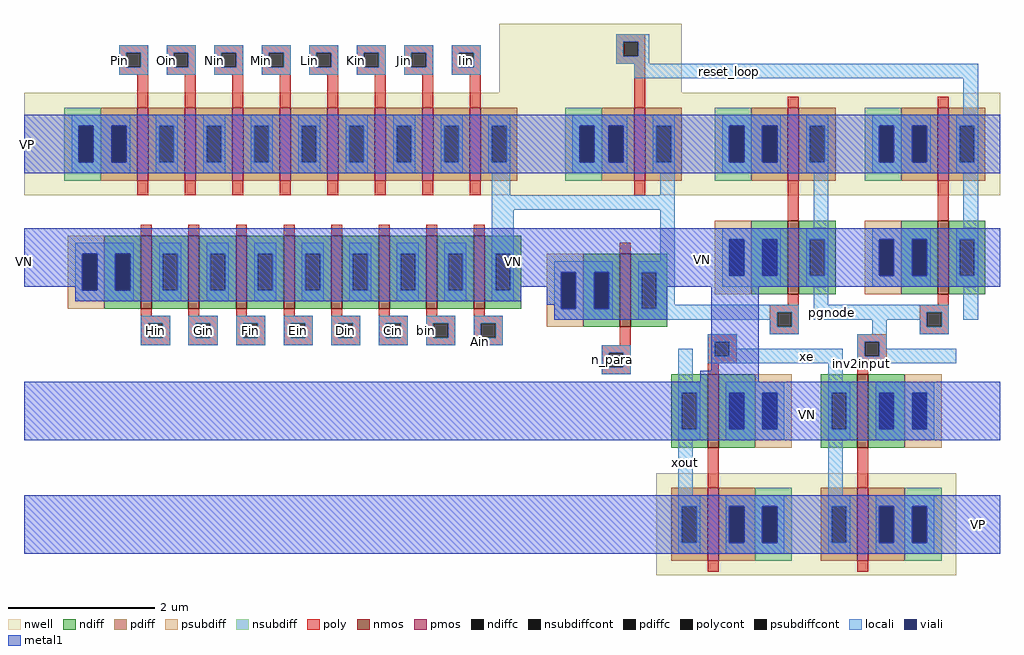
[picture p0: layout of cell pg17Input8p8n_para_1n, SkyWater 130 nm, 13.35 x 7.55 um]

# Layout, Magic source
magic
tech sky130A
<< nwell >>
rect -280 325 -30 420
rect -930 185 -5 325
<< nmos >>
rect -770 30 -755 130
rect -705 30 -690 130
rect -640 30 -625 130
rect -575 30 -560 130
rect -510 30 -495 130
rect -445 30 -430 130
rect -380 30 -365 130
rect -315 30 -300 130
rect -115 5 -100 105
<< pmos >>
rect -775 205 -760 305
rect -710 205 -695 305
rect -645 205 -630 305
rect -580 205 -565 305
rect -515 205 -500 305
rect -450 205 -435 305
rect -385 205 -370 305
rect -320 205 -305 305
rect -95 205 -80 305
<< ndiff >>
rect -820 105 -770 130
rect -820 55 -805 105
rect -785 55 -770 105
rect -820 30 -770 55
rect -755 105 -705 130
rect -755 55 -740 105
rect -720 55 -705 105
rect -755 30 -705 55
rect -690 105 -640 130
rect -690 55 -675 105
rect -655 55 -640 105
rect -690 30 -640 55
rect -625 105 -575 130
rect -625 55 -610 105
rect -590 55 -575 105
rect -625 30 -575 55
rect -560 105 -510 130
rect -560 55 -545 105
rect -525 55 -510 105
rect -560 30 -510 55
rect -495 105 -445 130
rect -495 55 -480 105
rect -460 55 -445 105
rect -495 30 -445 55
rect -430 105 -380 130
rect -430 55 -415 105
rect -395 55 -380 105
rect -430 30 -380 55
rect -365 105 -315 130
rect -365 55 -350 105
rect -330 55 -315 105
rect -365 30 -315 55
rect -300 105 -250 130
rect -300 55 -285 105
rect -265 55 -250 105
rect -300 30 -250 55
rect -165 80 -115 105
rect -165 30 -150 80
rect -130 30 -115 80
rect -165 5 -115 30
rect -100 80 -50 105
rect -100 30 -85 80
rect -65 30 -50 80
rect -100 5 -50 30
<< pdiff >>
rect -825 280 -775 305
rect -825 230 -810 280
rect -790 230 -775 280
rect -825 205 -775 230
rect -760 280 -710 305
rect -760 230 -745 280
rect -725 230 -710 280
rect -760 205 -710 230
rect -695 280 -645 305
rect -695 230 -680 280
rect -660 230 -645 280
rect -695 205 -645 230
rect -630 280 -580 305
rect -630 230 -615 280
rect -595 230 -580 280
rect -630 205 -580 230
rect -565 280 -515 305
rect -565 230 -550 280
rect -530 230 -515 280
rect -565 205 -515 230
rect -500 280 -450 305
rect -500 230 -485 280
rect -465 230 -450 280
rect -500 205 -450 230
rect -435 280 -385 305
rect -435 230 -420 280
rect -400 230 -385 280
rect -435 205 -385 230
rect -370 280 -320 305
rect -370 230 -355 280
rect -335 230 -320 280
rect -370 205 -320 230
rect -305 280 -255 305
rect -305 230 -290 280
rect -270 230 -255 280
rect -305 205 -255 230
rect -140 280 -95 305
rect -140 230 -130 280
rect -110 230 -95 280
rect -140 205 -95 230
rect -80 280 -30 305
rect -80 230 -65 280
rect -45 230 -30 280
rect -80 205 -30 230
<< ndiffc >>
rect -805 55 -785 105
rect -740 55 -720 105
rect -675 55 -655 105
rect -610 55 -590 105
rect -545 55 -525 105
rect -480 55 -460 105
rect -415 55 -395 105
rect -350 55 -330 105
rect -285 55 -265 105
rect -150 30 -130 80
rect -85 30 -65 80
<< pdiffc >>
rect -810 230 -790 280
rect -745 230 -725 280
rect -680 230 -660 280
rect -615 230 -595 280
rect -550 230 -530 280
rect -485 230 -465 280
rect -420 230 -400 280
rect -355 230 -335 280
rect -290 230 -270 280
rect -130 230 -110 280
rect -65 230 -45 280
<< psubdiff >>
rect -870 105 -820 130
rect -870 55 -850 105
rect -830 55 -820 105
rect -870 30 -820 55
rect -215 80 -165 105
rect -215 30 -195 80
rect -175 30 -165 80
rect -215 5 -165 30
<< nsubdiff >>
rect -875 280 -825 305
rect -875 230 -855 280
rect -835 230 -825 280
rect -875 205 -825 230
rect -190 280 -140 305
rect -190 230 -170 280
rect -150 230 -140 280
rect -190 205 -140 230
<< psubdiffcont >>
rect -850 55 -830 105
rect -195 30 -175 80
<< nsubdiffcont >>
rect -855 230 -835 280
rect -170 230 -150 280
<< poly >>
rect -120 395 -80 405
rect -800 380 -760 390
rect -800 360 -790 380
rect -770 360 -760 380
rect -800 350 -760 360
rect -735 380 -695 390
rect -735 360 -725 380
rect -705 360 -695 380
rect -735 350 -695 360
rect -670 380 -630 390
rect -670 360 -660 380
rect -640 360 -630 380
rect -670 350 -630 360
rect -605 380 -565 390
rect -605 360 -595 380
rect -575 360 -565 380
rect -605 350 -565 360
rect -540 380 -500 390
rect -540 360 -530 380
rect -510 360 -500 380
rect -540 350 -500 360
rect -475 380 -435 390
rect -475 360 -465 380
rect -445 360 -435 380
rect -475 350 -435 360
rect -410 380 -370 390
rect -410 360 -400 380
rect -380 360 -370 380
rect -410 350 -370 360
rect -345 380 -305 390
rect -345 360 -335 380
rect -315 360 -305 380
rect -120 375 -110 395
rect -90 375 -80 395
rect -120 365 -80 375
rect -345 350 -305 360
rect -775 305 -760 350
rect -710 305 -695 350
rect -645 305 -630 350
rect -580 305 -565 350
rect -515 305 -500 350
rect -450 305 -435 350
rect -385 305 -370 350
rect -320 305 -305 350
rect -95 305 -80 365
rect -775 185 -760 205
rect -710 185 -695 205
rect -645 185 -630 205
rect -580 185 -565 205
rect -515 185 -500 205
rect -450 185 -435 205
rect -385 185 -370 205
rect -320 185 -305 205
rect -95 185 -80 205
rect -770 130 -755 145
rect -705 130 -690 145
rect -640 130 -625 145
rect -575 130 -560 145
rect -510 130 -495 145
rect -445 130 -430 145
rect -380 130 -365 145
rect -315 130 -300 145
rect -115 105 -100 120
rect -770 20 -755 30
rect -705 20 -690 30
rect -640 20 -625 30
rect -575 20 -560 30
rect -510 20 -495 30
rect -445 20 -430 30
rect -380 20 -365 30
rect -315 20 -300 30
rect -770 10 -730 20
rect -770 -10 -760 10
rect -740 -10 -730 10
rect -770 -20 -730 -10
rect -705 10 -665 20
rect -705 -10 -695 10
rect -675 -10 -665 10
rect -705 -20 -665 -10
rect -640 10 -600 20
rect -640 -10 -630 10
rect -610 -10 -600 10
rect -640 -20 -600 -10
rect -575 10 -535 20
rect -575 -10 -565 10
rect -545 -10 -535 10
rect -575 -20 -535 -10
rect -510 10 -470 20
rect -510 -10 -500 10
rect -480 -10 -470 10
rect -510 -20 -470 -10
rect -445 10 -405 20
rect -445 -10 -435 10
rect -415 -10 -405 10
rect -445 -20 -405 -10
rect -380 10 -340 20
rect -380 -10 -370 10
rect -350 -10 -340 10
rect -380 -20 -340 -10
rect -315 10 -275 20
rect -315 -10 -305 10
rect -285 -10 -275 10
rect -315 -20 -275 -10
rect -115 -20 -100 5
rect -140 -30 -100 -20
rect -140 -50 -130 -30
rect -110 -50 -100 -30
rect -140 -60 -100 -50
rect 5 -56 12 -9
<< polycont >>
rect -790 360 -770 380
rect -725 360 -705 380
rect -660 360 -640 380
rect -595 360 -575 380
rect -530 360 -510 380
rect -465 360 -445 380
rect -400 360 -380 380
rect -335 360 -315 380
rect -110 375 -90 395
rect -760 -10 -740 10
rect -695 -10 -675 10
rect -630 -10 -610 10
rect -565 -10 -545 10
rect -500 -10 -480 10
rect -435 -10 -415 10
rect -370 -10 -350 10
rect -305 -10 -285 10
rect -130 -50 -110 -30
<< locali >>
rect -120 395 -75 405
rect -800 380 -760 390
rect -800 360 -790 380
rect -770 360 -760 380
rect -800 350 -760 360
rect -735 380 -695 390
rect -735 360 -725 380
rect -705 360 -695 380
rect -735 350 -695 360
rect -670 380 -630 390
rect -670 360 -660 380
rect -640 360 -630 380
rect -670 350 -630 360
rect -605 380 -565 390
rect -605 360 -595 380
rect -575 360 -565 380
rect -605 350 -565 360
rect -540 380 -500 390
rect -540 360 -530 380
rect -510 360 -500 380
rect -540 350 -500 360
rect -475 380 -435 390
rect -475 360 -465 380
rect -445 360 -435 380
rect -475 350 -435 360
rect -410 380 -370 390
rect -410 360 -400 380
rect -380 360 -370 380
rect -410 350 -370 360
rect -345 380 -305 390
rect -345 360 -335 380
rect -315 360 -305 380
rect -120 375 -110 395
rect -90 375 -75 395
rect -120 365 -75 375
rect -345 350 -305 360
rect -95 345 375 365
rect 355 295 375 345
rect -865 280 -785 295
rect -865 230 -855 280
rect -835 230 -810 280
rect -790 230 -785 280
rect -865 215 -785 230
rect -750 280 -720 295
rect -750 230 -745 280
rect -725 230 -720 280
rect -750 215 -720 230
rect -685 280 -655 295
rect -685 230 -680 280
rect -660 230 -655 280
rect -685 215 -655 230
rect -620 280 -590 295
rect -620 230 -615 280
rect -595 230 -590 280
rect -620 215 -590 230
rect -555 280 -525 295
rect -555 230 -550 280
rect -530 230 -525 280
rect -555 215 -525 230
rect -490 280 -460 295
rect -490 230 -485 280
rect -465 230 -460 280
rect -490 215 -460 230
rect -425 280 -395 295
rect -425 230 -420 280
rect -400 230 -395 280
rect -425 215 -395 230
rect -360 280 -330 295
rect -360 230 -355 280
rect -335 230 -330 280
rect -360 215 -330 230
rect -295 280 -265 295
rect -295 230 -290 280
rect -270 230 -265 280
rect -295 215 -265 230
rect -180 280 -105 295
rect -180 230 -170 280
rect -150 230 -130 280
rect -110 230 -105 280
rect -180 215 -105 230
rect -70 280 -40 295
rect -70 230 -65 280
rect -45 230 -40 280
rect -70 215 -40 230
rect -290 185 -265 215
rect -60 185 -40 215
rect -290 165 -40 185
rect -860 105 -780 120
rect -860 55 -850 105
rect -830 55 -805 105
rect -785 55 -780 105
rect -860 40 -780 55
rect -745 105 -715 120
rect -745 55 -740 105
rect -720 55 -715 105
rect -745 40 -715 55
rect -680 105 -650 120
rect -680 55 -675 105
rect -655 55 -650 105
rect -680 40 -650 55
rect -615 105 -585 120
rect -615 55 -610 105
rect -590 55 -585 105
rect -615 40 -585 55
rect -550 105 -520 120
rect -550 55 -545 105
rect -525 55 -520 105
rect -550 40 -520 55
rect -485 105 -455 120
rect -485 55 -480 105
rect -460 55 -455 105
rect -485 40 -455 55
rect -420 105 -390 120
rect -420 55 -415 105
rect -395 55 -390 105
rect -420 40 -390 55
rect -355 105 -325 120
rect -355 55 -350 105
rect -330 55 -325 105
rect -355 40 -325 55
rect -290 105 -260 165
rect -290 55 -285 105
rect -265 55 -260 105
rect -60 95 -40 165
rect -290 40 -260 55
rect -205 80 -125 95
rect -205 30 -195 80
rect -175 30 -150 80
rect -130 30 -125 80
rect -770 10 -730 20
rect -770 -10 -760 10
rect -740 -10 -730 10
rect -770 -20 -730 -10
rect -705 10 -665 20
rect -705 -10 -695 10
rect -675 -10 -665 10
rect -705 -20 -665 -10
rect -640 10 -600 20
rect -640 -10 -630 10
rect -610 -10 -600 10
rect -640 -20 -600 -10
rect -575 10 -535 20
rect -575 -10 -565 10
rect -545 -10 -535 10
rect -575 -20 -535 -10
rect -510 10 -470 20
rect -510 -10 -500 10
rect -480 -10 -470 10
rect -510 -20 -470 -10
rect -445 10 -405 20
rect -445 -10 -435 10
rect -415 -10 -405 10
rect -445 -20 -405 -10
rect -380 10 -340 20
rect -380 -10 -370 10
rect -350 -10 -340 10
rect -380 -20 -340 -10
rect -315 10 -275 20
rect -205 15 -125 30
rect -90 80 -40 95
rect -90 30 -85 80
rect -65 35 -40 80
rect -65 30 -5 35
rect -90 15 -5 30
rect 10 15 20 35
rect 150 15 202 35
rect -315 -10 -305 10
rect -285 -10 -275 10
rect -315 -20 -275 -10
rect 230 -15 250 25
rect -140 -30 -100 -20
rect -140 -50 -130 -30
rect -110 -50 -100 -30
rect 140 -45 170 -25
rect -140 -60 -100 -50
rect -33 -195 -19 -168
<< viali >>
rect -855 230 -835 280
rect -810 230 -790 280
rect -170 230 -150 280
rect -130 230 -110 280
rect -850 55 -830 105
rect -805 55 -785 105
rect -195 30 -175 80
rect -150 30 -130 80
<< metal1 >>
rect -930 280 -5 295
rect -930 230 -855 280
rect -835 230 -810 280
rect -790 230 -170 280
rect -150 230 -130 280
rect -110 230 -5 280
rect -930 220 -5 230
rect -930 215 20 220
rect -930 105 105 140
rect -930 60 -850 105
rect -860 55 -850 60
rect -830 55 -805 105
rect -785 80 105 105
rect -785 60 -195 80
rect -785 55 -250 60
rect -860 40 -250 55
rect -215 35 -195 60
rect -205 30 -195 35
rect -175 30 -150 80
rect -130 60 105 80
rect -130 30 -50 60
rect -205 15 -50 30
rect 10 -55 75 60
rect -5 -70 75 -55
rect -930 -150 -65 -70
rect -5 -150 140 -70
rect 210 -150 405 -70
rect -930 -305 -65 -225
rect 345 -305 405 -225
use inverter  inverter_1
transform 1 0 345 0 1 70
box -145 -75 60 255
use inverter  inverter_0
transform 1 0 140 0 1 70
box -145 -75 60 255
use inverter  inverter_2
transform -1 0 200 0 -1 -80
box -145 -75 60 255
use inverter  inverter_3
transform -1 0 -5 0 -1 -80
box -145 -75 60 255
<< labels >>
rlabel locali 140 -35 140 -35 7 xe
rlabel space 142 -115 142 -115 7 VN
port 3 w
rlabel metal1 -15 85 10 110 7 VN
port 15 w
rlabel locali -345 350 -305 390 7 Iin
port 14 w
rlabel locali -410 370 -410 370 7 Jin
port 16 w
rlabel locali -475 370 -475 370 7 Kin
port 17 w
rlabel locali -540 370 -540 370 7 Lin
port 18 w
rlabel locali -605 370 -605 370 1 Min
port 19 n
rlabel locali -670 370 -670 370 1 Nin
port 20 n
rlabel locali -735 370 -735 370 1 Oin
port 21 n
rlabel locali -800 370 -800 370 7 Pin
port 22 w
rlabel metal1 375 -265 375 -265 7 VP
rlabel locali -25 -180 -25 -180 7 xout
rlabel locali -305 -15 -305 -15 7 Ain
port 0 w
rlabel locali -380 0 -380 0 1 bin
port 1 n
rlabel locali -380 0 -380 0 7 Bin
port 2 w
rlabel locali -510 -20 -470 20 7 Din
port 7 w
rlabel poly -640 -20 -600 20 7 Fin
port 9 w
rlabel locali -705 -20 -665 20 3 Gin
port 10 e
rlabel locali -770 -20 -730 20 7 Hin
port 11 w
rlabel locali -445 -20 -405 20 7 Cin
port 13 w
rlabel locali -575 -20 -535 20 7 Ein
port 8 w
rlabel metal1 -260 95 -260 95 3 VN
rlabel metal1 -930 95 -930 95 3 VN
rlabel metal1 -925 255 -925 255 7 VP
port 5 w
rlabel locali 35 355 35 355 7 reset_loop
rlabel space 215 -45 215 -45 1 inv2input
rlabel locali -30 -185 -20 -175 7 xout
port 4 w
rlabel locali 175 25 175 25 1 pgnode
rlabel polycont -125 -40 -125 -40 1 n_para
port 23 n
<< end >>

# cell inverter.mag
magic
tech sky130A
<< nwell >>
rect -145 115 60 255
<< nmos >>
rect -25 -20 -10 80
<< pmos >>
rect -25 135 -10 235
<< ndiff >>
rect -75 55 -25 80
rect -75 5 -60 55
rect -40 5 -25 55
rect -75 -20 -25 5
rect -10 55 40 80
rect -10 5 5 55
rect 25 5 40 55
rect -10 -20 40 5
<< pdiff >>
rect -75 210 -25 235
rect -75 160 -60 210
rect -40 160 -25 210
rect -75 135 -25 160
rect -10 210 40 235
rect -10 160 5 210
rect 25 160 40 210
rect -10 135 40 160
<< ndiffc >>
rect -60 5 -40 55
rect 5 5 25 55
<< pdiffc >>
rect -60 160 -40 210
rect 5 160 25 210
<< psubdiff >>
rect -125 55 -75 80
rect -125 5 -105 55
rect -85 5 -75 55
rect -125 -20 -75 5
<< nsubdiff >>
rect -125 210 -75 235
rect -125 160 -105 210
rect -85 160 -75 210
rect -125 135 -75 160
<< psubdiffcont >>
rect -105 5 -85 55
<< nsubdiffcont >>
rect -105 160 -85 210
<< poly >>
rect -25 235 -10 250
rect -25 80 -10 135
rect -25 -35 -10 -20
rect -50 -45 -10 -35
rect -50 -65 -40 -45
rect -20 -65 -10 -45
rect -50 -75 -10 -65
<< polycont >>
rect -40 -65 -20 -45
<< locali >>
rect -115 210 -35 225
rect -115 160 -105 210
rect -85 160 -60 210
rect -40 160 -35 210
rect -115 145 -35 160
rect 0 210 30 225
rect 0 160 5 210
rect 25 160 30 210
rect 0 145 30 160
rect 10 70 30 145
rect -115 55 -35 70
rect -115 5 -105 55
rect -85 5 -60 55
rect -40 5 -35 55
rect -115 -10 -35 5
rect 0 55 30 70
rect 0 5 5 55
rect 25 5 30 55
rect 0 -10 30 5
rect -145 -45 -10 -35
rect -145 -55 -40 -45
rect -50 -65 -40 -55
rect -20 -65 -10 -45
rect 10 -55 30 -10
rect -50 -75 -10 -65
<< viali >>
rect -105 160 -85 210
rect -60 160 -40 210
rect -105 5 -85 55
rect -60 5 -40 55
<< metal1 >>
rect -145 210 60 225
rect -145 160 -105 210
rect -85 160 -60 210
rect -40 160 60 210
rect -145 145 60 160
rect -145 55 60 70
rect -145 5 -105 55
rect -85 5 -60 55
rect -40 5 60 55
rect -145 -10 60 5
<< labels >>
rlabel locali -145 -45 -145 -45 7 A
port 1 w
rlabel locali 23 -33 23 -33 1 Y
port 2 n
rlabel metal1 -141 185 -141 185 3 VP
port 3 e
rlabel metal1 -138 26 -138 26 1 VN
port 4 n
<< end >>
